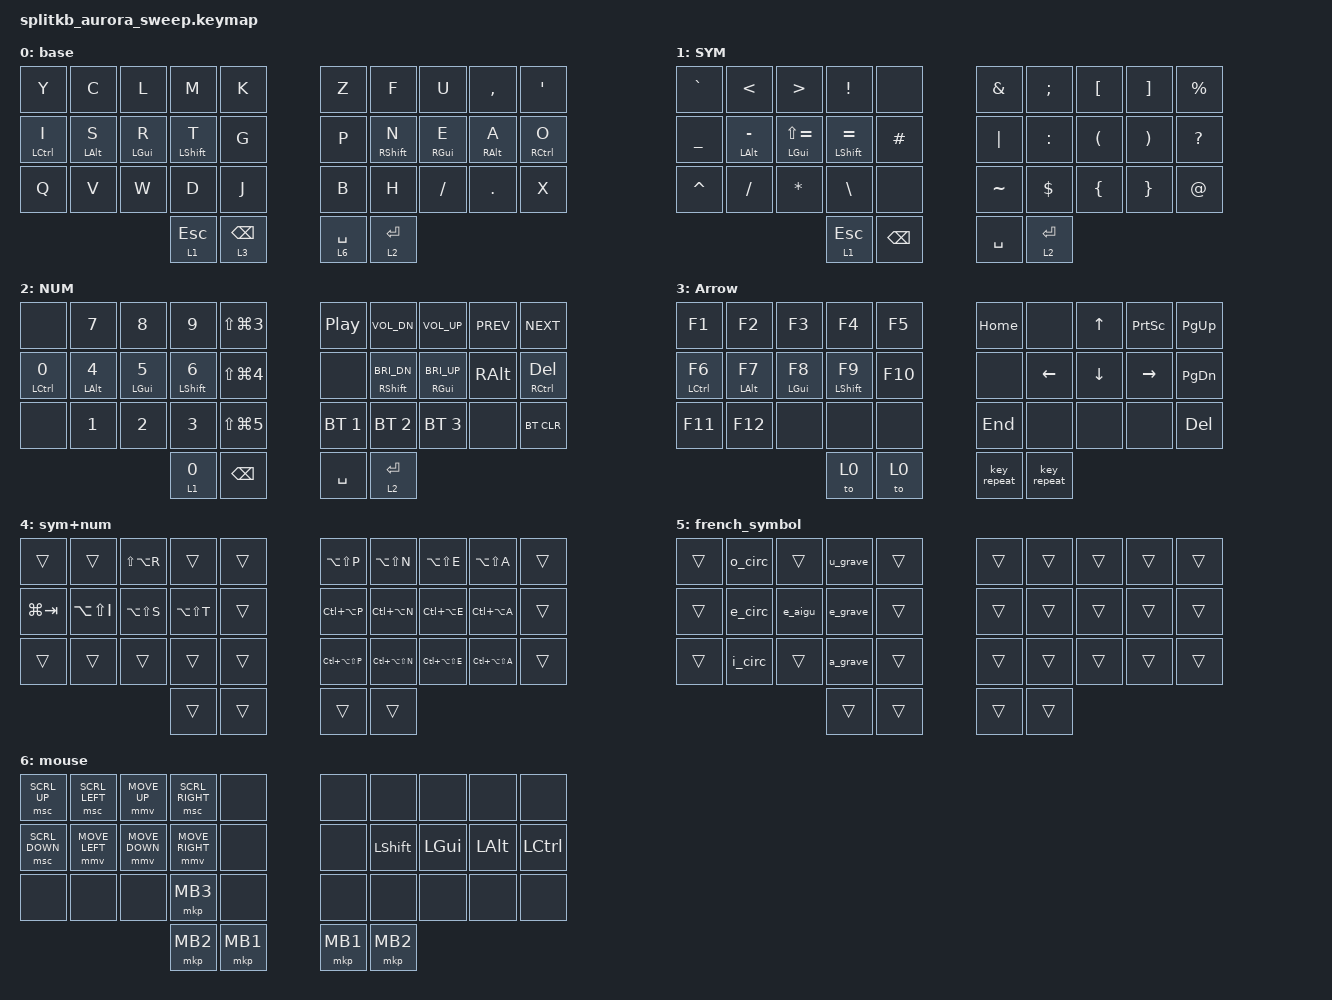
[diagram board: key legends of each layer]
/*
 * Copyright (c) 2022 The ZMK Contributors
 *
 * SPDX-License-Identifier: MIT
 */

#include <behaviors.dtsi>
#include <dt-bindings/zmk/bt.h>
#include <dt-bindings/zmk/keys.h>
#include "mouse.dtsi"

#define MAC 0


&lt {
    tapping_term_ms = <150>;
};

/ {
    macros {
        e_aigu: e_aigu {
            compatible = "zmk,behavior-macro";
            #binding-cells = <0>;
            bindings = <&macro_tap>, <&kp RA(E) &kp E>;
        };

        e_grave: e_grave {
            compatible = "zmk,behavior-macro";
            #binding-cells = <0>;
            bindings = <&macro_tap>, <&kp RA(GRAVE) &kp E>;
        };

        e_circ: e_circ {
            compatible = "zmk,behavior-macro";
            #binding-cells = <0>;
            bindings = <&macro_tap>, <&kp RA(I) &kp E>;
        };

        a_grave: a_grave {
            compatible = "zmk,behavior-macro";
            #binding-cells = <0>;
            bindings = <&macro_tap>, <&kp RA(GRAVE) &kp U>;
        };

        o_circ: o_circ {
            compatible = "zmk,behavior-macro";
            #binding-cells = <0>;
            bindings = <&macro_tap>, <&kp RA(I) &kp O>;
        };

        i_circ: i_circ {
            compatible = "zmk,behavior-macro";
            #binding-cells = <0>;
            bindings = <&macro_tap>, <&kp RA(I) &kp I>;
        };

        warpd_hint: warpd_hint {
            compatible = "zmk,behavior-macro";
            #binding-cells = <0>;
            bindings = <&macro_tap>, <&kp LG(LA(C))>;
        };

        sym2macro: behavior_macro_1 {
            compatible = "zmk,behavior-macro";
            #binding-cells = <0>;
            bindings = <&sl 1>;
        };
    };

    combos {
        compatible = "zmk,combos";

        combo_e_aigu {
            timeout-ms = <30>;
            key-positions = <17 18>;
            bindings = <&e_aigu>;
            layers = <0>;
        };

        combo_e_grave {
            timeout-ms = <30>;
            key-positions = <16 17>;
            bindings = <&e_grave>;
            layers = <0>;
        };

        combo_e_circ {
            timeout-ms = <50>;
            key-positions = <16 17 18>;
            bindings = <&e_circ>;
            layers = <0>;
        };

        combo_a_grave {
            timeout-ms = <30>;
            key-positions = <26 27>;
            bindings = <&a_grave>;
            layers = <0>;
        };

        combo_u_grave {
            timeout-ms = <30>;
            key-positions = <6 7>;
            bindings = <&u_grave>;
            layers = <0>;
        };

        combo_o_circ {
            timeout-ms = <50>;
            key-positions = <17 18 19>;
            bindings = <&o_circ>;
            layers = <0>;
        };

        combo_i_circ {
            timeout-ms = <50>;
            key-positions = <10 11 12>;
            bindings = <&i_circ>;
            layers = <0>;
        };

        combo_capslock {
            timeout-ms = <30>;
            key-positions = <2 1 3>;
            bindings = <&caps_word>;
            layers = <0>;
        };

        combo_warpd_hint {
            timeout-ms = <30>;
            key-positions = <>;
            bindings = <&warpd_hint>;
        };

        combo_warpd_normal {
            timeout-ms = <30>;
            key-positions = <>;
            bindings = <&warpd_normal>;
        };

        combo_enter {
            timeout-ms = <30>;
            key-positions = <2 3>;
            bindings = <&kp BACKSPACE>;
            layers = <0>;
        };

        semi {
            timeout-ms = <30>;
            key-positions = <6 16>;
            bindings = <&kp SEMI>;
        };

        lpar {
            timeout-ms = <30>;
            key-positions = <7 17>;
            bindings = <&kp LPAR>;
        };

        rpar {
            timeout-ms = <30>;
            key-positions = <8 18>;
            bindings = <&kp RPAR>;
        };

        combo_tab {
            timeout-ms = <30>;
            key-positions = <11 12>;
            bindings = <&kp TAB>;
            layers = <0>;
        };

        combo_backspace {
            timeout-ms = <30>;
            key-positions = <12 13>;
            bindings = <&kp BACKSPACE>;
        };

        combo_esc_re {
            timeout-ms = <30>;
            key-positions = <1 2>;
            bindings = <&kp ESC>;
        };

        combo_copy {
            timeout-ms = <30>;
            key-positions = <22 21>;
            bindings = <&kp LG(C)>;
            layers = <0 6>;
        };

        combo_paste {
            timeout-ms = <30>;
            key-positions = <23 22>;
            bindings = <&kp LG(V)>;
            layers = <0 6>;
        };

        combo_cut {
            timeout-ms = <30>;
            key-positions = <21 23>;
            bindings = <&kp LG(X)>;
            layers = <0 6>;
        };

        french_sym {
            bindings = <&sl 5>;
            key-positions = <6 8>;
            layers = <0>;
        };

        mouse {
            bindings = <&tog 6>;
            key-positions = <>;
            layers = <0>;
        };

        combo_MBLK {
            bindings = <&mkp MB3>;
            key-positions = <30 31>;
            layers = <6>;
        };

        combo_MBCLK2 {
            bindings = <&mkp MB3>;
            key-positions = <>;
            layers = <6>;
        };

        sticky_meh {
            bindings = <&sk LS(LA(LG(LCTRL)))>;
            key-positions = <13 16>;
            layers = <0>;
        };

        // 0  1  2  3  4        5  6  7  8  9
        // 10 11 12 13 14       15 16 17 18 19
        // 20 21 22 23 24       25 26 27 28 29
        //          30 31       32 33
    };

    behaviors {
        hm: homerow_mods {
            compatible = "zmk,behavior-hold-tap";
            #binding-cells = <2>;
            tapping-term-ms = <200>;
            quick_tap_ms = <0>;
            flavor = "tap-preferred";
            bindings = <&kp>, <&kp>;
        };

        td: tapdance {
            compatible = "zmk,behavior-hold-tap";
            #binding-cells = <2>;
            tapping-term-ms = <180>;
            quick_tap_ms = <0>;
            flavor = "tap-preferred";
            bindings = <&kp>, <&kp>;
        };

        gqt: global-quick-tap {
            compatible = "zmk,behavior-hold-tap";
            #binding-cells = <2>;
            flavor = "balanced";
            tapping-term-ms = <190>;
            quick-tap-ms = <160>;
            #global-quick-tap;
            bindings = <&kp>, <&kp>;
        };

        td_arrow_layer: td_arrow_layer {
            compatible = "zmk,behavior-tap-dance";
            #binding-cells = <0>;
            tapping-term-ms = <180>;
            bindings = <&kp BACKSPACE>, <&kp BACKSPACE>;
        };

        lt_arrow_layer: td_nav_layer {
            compatible = "zmk,behavior-hold-tap";
            #binding-cells = <2>;
            flavor = "tap-preferred";
            tapping-term-ms = <250>;
            quick-tap-ms = <225>;
            bindings = <&mo>, <&td_arrow_layer>;
        };

        td_mouse_layer: td_mouse_layer {
            compatible = "zmk,behavior-tap-dance";
            #binding-cells = <0>;
            tapping-term-ms = <180>;
            bindings = <&kp SPACE>, <&kp SPACE>;
        };

        lt_mouse_layer: lt_mouse_layer {
            compatible = "zmk,behavior-hold-tap";
            #binding-cells = <2>;
            flavor = "tap-preferred";
            tapping-term-ms = <250>;
            quick-tap-ms = <225>;
            bindings = <&mo>, <&td_mouse_layer>;
        };
    };

    keymap {
        compatible = "zmk,keymap";

        base {
            bindings = <
&kp Y  &kp C            &kp L        &kp M          &kp K    &kp Z  &kp F          &kp U        &kp COMMA                &kp SQT
&gqt LCTRL I            &gqt LALT S      &gqt LGUI R  &gqt LSHIFT T  &kp G      &kp P        &gqt RSHIFT N  &gqt RGUI E  &gqt RALT A             &gqt RCTRL O
&kp Q  &kp V            &kp W        &kp D        &kp J    &kp B     &kp H           &kp SLASH    &kp DOT                  &kp X
&lt 1 ESC               &lt 3 BACKSPACE                                                                                &lt_mouse_layer 6 SPACE  &lt 2 ENTER
            >;
        };

        SYM {
            bindings = <
&kp GRAVE  &kp LT           &kp GT               &kp EXCL           &none       &kp AMPS   &kp SEMI    &kp LBKT  &kp RBKT   &kp PERCENT
&kp UNDER  &gqt LALT MINUS  &gqt LGUI LS(EQUAL)  &gqt LSHIFT EQUAL  &kp HASH    &kp PIPE   &kp COLON   &kp LPAR  &kp RPAR   &kp QMARK
&kp CARET  &kp SLASH        &kp ASTRK            &kp BSLH           &none       &kp TILDE  &kp DOLLAR  &kp LBRC  &kp RBRC   &kp AT
&lt 1 ESC  &kp BACKSPACE                                                                                         &kp SPACE  &lt 2 ENTER
            >;
        };

        NUM {
            bindings = <
&none          &kp N7         &kp N8        &kp N9          &kp LS(LG(N3))    &kp C_PP      &kp C_VOL_DN          &kp C_VOL_UP        &kp C_PREV  &kp C_NEXT
&gqt LCTRL N0  &gqt LALT N4   &gqt LGUI N5  &gqt LSHIFT N6  &kp LS(LG(N4))    &none         &gqt RSHIFT C_BRI_DN  &gqt RGUI C_BRI_UP  &kp RALT    &gqt RCTRL DEL
&none   &kp N1         &kp N2        &kp N3          &kp LS(LG(N5))    &bt BT_SEL 1  &bt BT_SEL 2          &bt BT_SEL 3        &none       &bt BT_CLR

&lt 1 N0       &kp BACKSPACE                                                                                                          &kp SPACE   &lt 2 ENTER
            >;
        };

        Arrow {
            bindings = <
&kp F1         &kp F2        &kp F3        &kp F4          &kp F5     &kp HOME  &none     &kp UP  &kp PSCRN    &kp PAGE_UP
&gqt LCTRL F6  &gqt LALT F7  &gqt LGUI F8  &gqt LSHIFT F9  &kp F10    &none     &kp LEFT  &kp DOWN  &kp RIGHT    &kp PAGE_DOWN
&kp F11        &kp F12       &none         &none           &none      &kp END   &none     &none   &none        &kp DEL
&to 0          &to 0                                                                              &key_repeat  &key_repeat
            >;
        };

        sym+num {
            bindings = <
&trans       &trans         &kp LS(LA(R))  &trans         &trans    &kp LA(LS(P))      &kp LA(LS(N))      &kp LA(LS(E))      &kp LA(LS(A))      &trans
&kp LG(TAB)  &kp LA(LS(I))  &kp LA(LS(S))  &kp LA(LS(T))  &trans    &kp LC(LA(P))      &kp LC(LA(N))      &kp LC(LA(E))      &kp LC(LA(A))      &trans
&trans       &trans         &trans         &trans         &trans    &kp LC(LA(LS(P)))  &kp LC(LA(LS(N)))  &kp LC(LA(LS(E)))  &kp LC(LA(LS(A)))  &trans
&trans       &trans                                                                                                          &trans             &trans
            >;
        };

        french_symbol {
            bindings = <
&trans  &o_circ  &trans   &u_grave  &trans    &trans  &trans  &trans  &trans  &trans
&trans  &e_circ  &e_aigu  &e_grave  &trans    &trans  &trans  &trans  &trans  &trans
&trans  &i_circ  &trans   &a_grave  &trans    &trans  &trans  &trans  &trans  &trans
&trans  &trans                                                        &trans  &trans
            >;
        };

        mouse {
            bindings = <
&msc SCRL_UP    &msc SCRL_LEFT  &mmv MOVE_UP    &msc SCRL_RIGHT  &none    &none  &none           &none     &none            &none 
&msc SCRL_DOWN  &mmv MOVE_LEFT    &mmv MOVE_DOWN  &mmv MOVE_RIGHT    &none    &none  &kp LSHIFT &kp LGUI  &kp LALT  &kp LCTRL
&none             &none             &none           &mkp MB3           &none    &none  &none        &none           &none            &none
&mkp MB2          &mkp MB1                                                                                             &mkp MB1         &mkp MB2
            >;
        };
    };

    conditional_layers {
        compatible = "zmk,conditional-layers";

        Mouse {
            if-layers = <1 2>;
            then-layer = <4>;
        };
    };
};
